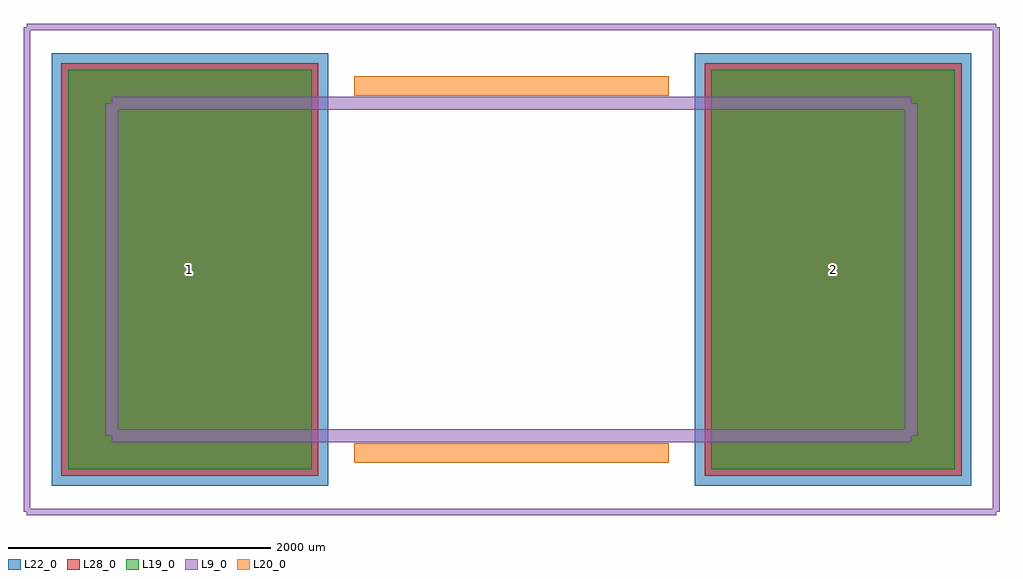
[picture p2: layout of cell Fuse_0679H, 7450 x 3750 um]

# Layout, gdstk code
import gdstk
lib = gdstk.Library(unit=1e-6, precision=1e-09)
def R(c, l, rs):  # rectangles x0, y0, x1, y1
    for r in rs: c.add(gdstk.rectangle(r[:2], r[2:], *l))
L9_0 = (9, 0)
L19_0 = (19, 0)
L20_0 = (20, 0)
L22_0 = (22, 0)
L28_0 = (28, 0)

fuse_0679h = lib.new_cell('Fuse_0679H')
R(fuse_0679h, L19_0, [(-3385,-1525,-1525,1525), (1525,-1525,3385,1525)])
R(fuse_0679h, L22_0, [(-3510,-1650,-1400,1650), (1400,-1650,3510,1650)])
R(fuse_0679h, L28_0, [(-3435,-1575,-1475,1575), (1475,-1575,3435,1575)])
fuse_0679h.add(gdstk.FlexPath([(-3050,1270),(3050,1270)], 100, ends="flush", simple_path=True, layer=9, datatype=0))  # L9_0
fuse_0679h.add(gdstk.FlexPath([(3050,1270),(3050,-1270)], 100, ends="flush", simple_path=True, layer=9, datatype=0))  # L9_0
fuse_0679h.add(gdstk.FlexPath([(3050,-1270),(-3050,-1270)], 100, ends="flush", simple_path=True, layer=9, datatype=0))  # L9_0
fuse_0679h.add(gdstk.FlexPath([(-3050,-1270),(-3050,1270)], 100, ends="flush", simple_path=True, layer=9, datatype=0))  # L9_0
fuse_0679h.add(gdstk.FlexPath([(-1200,1400),(1200,1400)], 149.998, ends="flush", simple_path=True, layer=20, datatype=0))  # L20_0
fuse_0679h.add(gdstk.FlexPath([(-1200,-1400),(1200,-1400)], 149.998, ends="flush", simple_path=True, layer=20, datatype=0))  # L20_0
fuse_0679h.add(gdstk.FlexPath([(-3700,1850),(3700,1850)], 50, ends="flush", simple_path=True, layer=9, datatype=0))  # L9_0
fuse_0679h.add(gdstk.FlexPath([(3700,1850),(3700,-1850)], 50, ends="flush", simple_path=True, layer=9, datatype=0))  # L9_0
fuse_0679h.add(gdstk.FlexPath([(3700,-1850),(-3700,-1850)], 50, ends="flush", simple_path=True, layer=9, datatype=0))  # L9_0
fuse_0679h.add(gdstk.FlexPath([(-3700,-1850),(-3700,1850)], 50, ends="flush", simple_path=True, layer=9, datatype=0))  # L9_0
fuse_0679h.add(gdstk.Label('1', (-2455,0), layer=28, texttype=0))
fuse_0679h.add(gdstk.Label('2', (2455,0), layer=28, texttype=0))
fuse_0679h.add(gdstk.Label('type', (0,-2600), layer=9, texttype=0))
fuse_0679h.add(gdstk.Label('devicename', (0,2600), layer=9, texttype=0))

lib.write_gds('Fuse_0679H.gds')
